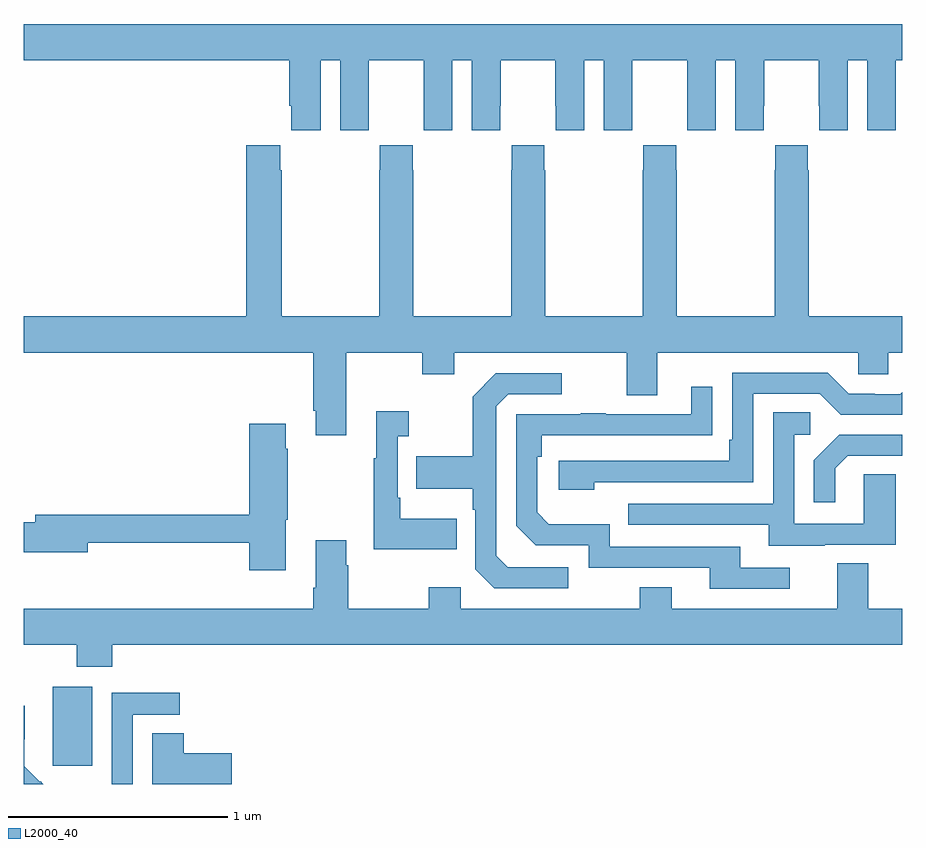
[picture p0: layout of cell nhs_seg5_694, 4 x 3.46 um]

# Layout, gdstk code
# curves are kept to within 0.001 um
import gdstk
lib = gdstk.Library(unit=1e-6, precision=1e-09)
def R(c, l, rs):  # rectangles x0, y0, x1, y1
    for r in rs: c.add(gdstk.rectangle(r[:2], r[2:], *l))
def P(c, l, *ps):  # polygons
    for p in ps: c.add(gdstk.Polygon(p, *l))
L2000_40 = (2000, 40)

nhs_seg5_694 = lib.new_cell('nhs_seg5_694')
R(nhs_seg5_694, L2000_40, [(155.132,850.881,155.311,851.242)])
P(nhs_seg5_694, L2000_40, [(156.352,854.096),(156.44,854.096),(156.44,853.776),(156.57,853.776),(156.57,853.888),(156.571,853.888),(156.571,854.096),(156.821,854.096),(156.821,853.888),(156.822,853.888),(156.822,853.776),(156.952,853.776),(156.952,854.096),(157.04,854.096),(157.04,853.776),(157.17,853.776),(157.17,853.888),(157.171,853.888),(157.171,854.096),(157.421,854.096),(157.421,853.888),(157.422,853.888),(157.422,853.776),(157.552,853.776),(157.552,854.096),(157.64,854.096),(157.64,853.776),(157.77,853.776),(157.77,853.888),(157.771,853.888),(157.771,854.096),(158.021,854.096),(158.021,853.888),(158.022,853.888),(158.022,853.776),(158.152,853.776),(158.152,854.096),(158.24,854.096),(158.24,853.776),(158.37,853.776),(158.37,853.888),(158.371,853.888),(158.371,854.096),(158.621,854.096),(158.621,853.888),(158.622,853.888),(158.622,853.776),(158.752,853.776),(158.752,854.096),(158.84,854.096),(158.84,853.776),(158.97,853.776),(158.97,853.888),(158.971,853.888),(158.971,854.096),(159,854.096),(159,854.26),(155,854.26),(155,854.096),(156.209,854.096),(156.209,853.888),(156.218,853.888),(156.218,853.776),(156.352,853.776)],
  [(158.574,853.595),(158.571,853.595),(158.571,853.708),(158.421,853.708),(158.421,853.595),(158.419,853.595),(158.419,852.928),(157.974,852.928),(157.974,853.595),(157.971,853.595),(157.971,853.708),(157.821,853.708),(157.821,853.595),(157.819,853.595),(157.819,852.928),(157.374,852.928),(157.374,853.595),(157.371,853.595),(157.371,853.708),(157.221,853.708),(157.221,853.595),(157.219,853.595),(157.219,852.928),(156.774,852.928),(156.774,853.595),(156.771,853.595),(156.771,853.708),(156.621,853.708),(156.621,853.595),(156.619,853.595),(156.619,852.928),(156.174,852.928),(156.174,853.595),(156.167,853.595),(156.167,853.708),(156.014,853.708),(156.014,852.928),(155,852.928),(155,852.764),(156.317,852.764),(156.317,852.499),(156.329,852.499),(156.329,852.387),(156.469,852.387),(156.469,852.764),(156.814,852.764),(156.814,852.665),(156.961,852.665),(156.961,852.764),(157.745,852.764),(157.745,852.57),(157.885,852.57),(157.885,852.764),(158.799,852.764),(158.799,852.666),(158.937,852.666),(158.937,852.764),(159,852.764),(159,852.928),(158.574,852.928)],
  [(157.598,852.174),(158.322,852.174),(158.322,852.576),(158.625,852.576),(158.721,852.48),(159,852.48),(159,852.582),(158.991,852.573),(158.876,852.573),(158.876,852.576),(158.757,852.576),(158.661,852.672),(158.226,852.672),(158.226,852.367),(158.213,852.367),(158.213,852.27),(157.437,852.27),(157.437,852.14),(157.598,852.14)],
  [(157.48,851.787),(157.203,851.787),(157.152,851.838),(157.152,852.519),(157.206,852.573),(157.45,852.573),(157.45,852.669),(157.149,852.669),(157.044,852.563),(157.044,852.291),(156.787,852.291),(156.787,852.143),(157.044,852.143),(157.044,852.047),(157.056,852.047),(157.056,851.778),(157.143,851.691),(157.48,851.691)],
  [(158.488,851.784),(158.263,851.784),(158.263,851.88),(157.668,851.88),(157.668,851.983),(157.391,851.983),(157.338,852.036),(157.338,852.29),(157.358,852.29),(157.358,852.387),(158.135,852.388),(158.135,852.607),(158.039,852.607),(158.039,852.483),(157.649,852.483),(157.649,852.488),(157.537,852.488),(157.537,852.483),(157.242,852.483),(157.242,851.976),(157.332,851.886),(157.572,851.886),(157.572,851.784),(158.123,851.784),(158.123,851.688),(158.488,851.688)],
  [(156.971,852.007),(156.715,852.007),(156.715,852.103),(156.702,852.103),(156.702,852.383),(156.754,852.383),(156.754,852.496),(156.605,852.496),(156.605,852.283),(156.594,852.283),(156.594,851.867),(156.971,851.867)],
  [(158.647,851.889),(158.971,851.889),(158.971,852.209),(158.826,852.209),(158.826,851.985),(158.508,851.985),(158.508,852.39),(158.581,852.39),(158.581,852.491),(158.412,852.491),(158.412,852.075),(157.753,852.075),(157.753,851.979),(158.393,851.979),(158.393,851.885),(158.647,851.885)],
  [(156.193,852.003),(156.201,852.003),(156.201,852.326),(156.193,852.326),(156.193,852.439),(156.026,852.439),(156.026,852.026),(155.051,852.026),(155.051,851.99),(155,851.99),(155,851.855),(155.29,851.855),(155.29,851.898),(156.026,851.898),(156.026,851.772),(156.193,851.772)],
  [(158.695,852.237),(158.752,852.294),(159,852.294),(159,852.39),(158.714,852.39),(158.598,852.274),(158.598,852.081),(158.695,852.081)],
  [(155.402,851.432),(159,851.432),(159,851.596),(158.845,851.596),(158.845,851.804),(158.705,851.804),(158.705,851.596),(157.951,851.596),(157.951,851.695),(157.804,851.695),(157.804,851.596),(156.99,851.596),(156.99,851.695),(156.844,851.695),(156.844,851.596),(156.477,851.596),(156.477,851.795),(156.469,851.795),(156.469,851.908),(156.329,851.908),(156.329,851.692),(156.317,851.692),(156.317,851.596),(155,851.596),(155,851.432),(155.242,851.432),(155.242,851.333),(155.402,851.333)],
  [(155.496,851.115),(155.71,851.115),(155.71,851.214),(155.4,851.214),(155.4,850.799),(155.496,850.799)],
  [(155.076,850.812),(155.073,850.809),(155.003,850.88),(155.003,851.002),(155.004,851.002),(155.004,851.156),(155,851.156),(155,850.799),(155.089,850.799)],
  [(155.947,850.94),(155.729,850.94),(155.729,851.03),(155.585,851.03),(155.585,850.799),(155.947,850.799)])

lib.write_gds('nhs_seg5_694.gds')
